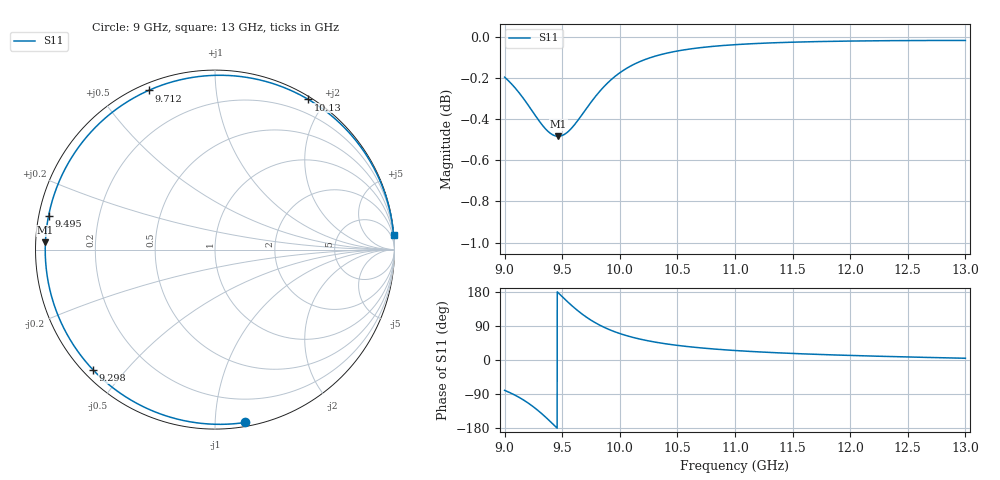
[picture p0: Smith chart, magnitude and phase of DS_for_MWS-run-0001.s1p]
! TOUCHSTONE file generated by CST DESIGN STUDIO
! Date and time: Tue Feb  4 13:36:31 2025
! Project name: C:\Work\MatlabApps\UnitCellOptimizationMatlab\CST\unitcell.cst
! Tree item: Tasks\Sweep1\SPara1\S-Parameters
! Header version: 2024
! Port assignment regex: !\s*Touchstone port\s*([0-9]+)\s*=\s*(CST MWS port|CST DES external port|CST DES block port)\s*(.+)\s* \(\"(.*)\"\)(\s*mode\s*([0-9]+))?.*
! Touchstone port assignment:
! Touchstone port 1 = CST DES external port 1 ("")
# GHz S MA R 50
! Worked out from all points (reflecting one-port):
!   4001 points, 9 GHz to 13 GHz, reference 50 ohm
!   lowest |S11| = -0.5 dB at 9.465 GHz (marker M1), VSWR 35.97, Z = 1.39 + j1.1 ohm
!   phase of S11 starts at -80 deg and turns -275 deg over the sweep
!   S11 on the Smith chart (normalised r, x): 9 GHz: 0.03, -1.19; 9.298 GHz: 0.03, -0.41; 9.495 GHz: 0.03, +0.10; 9.712 GHz: 0.03, +0.67; 10.13 GHz: 0.03, +1.80; 13 GHz: 1, +25
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9  0.9777 -80.1
9.072  0.9732 -90.0
9.168  0.9657 -106.3
9.235  0.9598 -120.2
9.298  0.9542 -135.3
9.342  0.9507 -146.9
9.388  0.9479 -159.8
9.427  0.9464 -171.2
9.465  0.9459 177.5
9.495  0.9462 168.6
9.5  0.9463 167.1
9.551  0.9484 152.4
9.609  0.9522 136.7
9.66  0.9564 124.2
9.712  0.9609 112.7
9.769  0.9656 101.6
9.832  0.9704 91.0
9.914  0.9757 79.5
10  0.9801 69.8
10.134  0.9851 58.1
10.299  0.9891 47.6
10.5  0.9921 38.6
10.722  0.9942 31.4
11  0.9957 25.0
11.5  0.997 17.3
12  0.9977 12.0
12.5  0.9979 8.0
13  0.998 4.6
